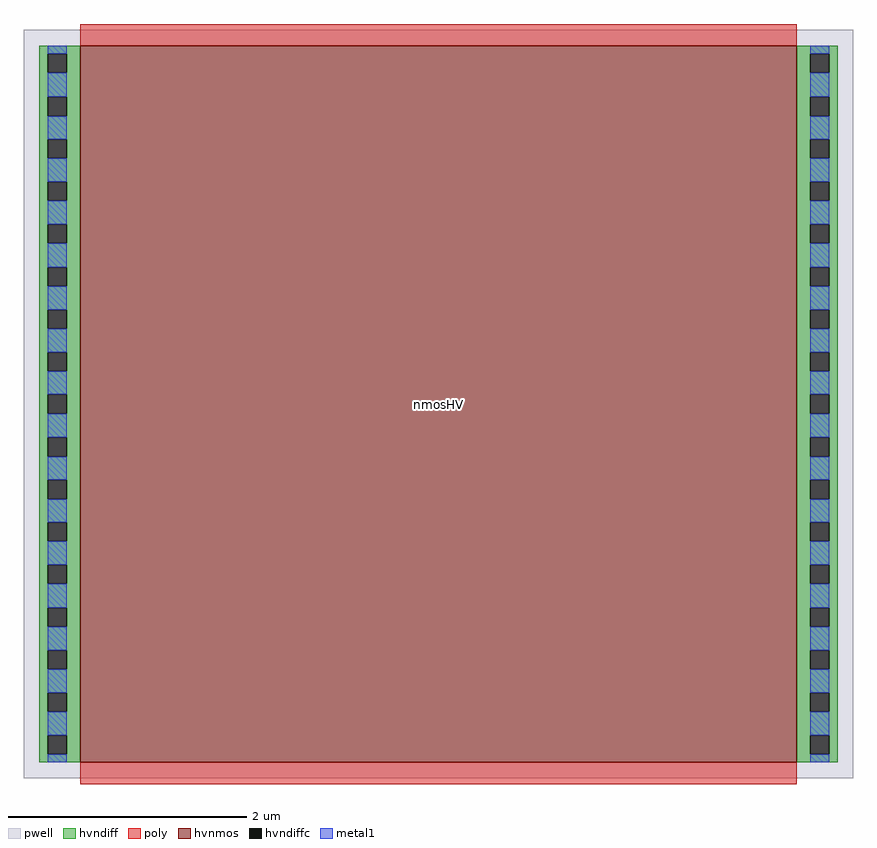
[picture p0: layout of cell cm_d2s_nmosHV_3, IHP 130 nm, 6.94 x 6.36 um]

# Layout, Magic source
magic
tech ihp-sg13cmos5l
magscale 1 2
<< pwell >>
rect -26 -26 1362 1226
<< hvnmos >>
rect 68 0 1268 1200
<< hvndiff >>
rect 0 1186 68 1200
rect 0 1154 14 1186
rect 46 1154 68 1186
rect 0 1114 68 1154
rect 0 1082 14 1114
rect 46 1082 68 1114
rect 0 1043 68 1082
rect 0 1011 14 1043
rect 46 1011 68 1043
rect 0 972 68 1011
rect 0 940 14 972
rect 46 940 68 972
rect 0 901 68 940
rect 0 869 14 901
rect 46 869 68 901
rect 0 829 68 869
rect 0 797 14 829
rect 46 797 68 829
rect 0 758 68 797
rect 0 726 14 758
rect 46 726 68 758
rect 0 687 68 726
rect 0 655 14 687
rect 46 655 68 687
rect 0 616 68 655
rect 0 584 14 616
rect 46 584 68 616
rect 0 544 68 584
rect 0 512 14 544
rect 46 512 68 544
rect 0 473 68 512
rect 0 441 14 473
rect 46 441 68 473
rect 0 402 68 441
rect 0 370 14 402
rect 46 370 68 402
rect 0 331 68 370
rect 0 299 14 331
rect 46 299 68 331
rect 0 259 68 299
rect 0 227 14 259
rect 46 227 68 259
rect 0 188 68 227
rect 0 156 14 188
rect 46 156 68 188
rect 0 117 68 156
rect 0 85 14 117
rect 46 85 68 117
rect 0 46 68 85
rect 0 14 14 46
rect 46 14 68 46
rect 0 0 68 14
rect 1268 1186 1336 1200
rect 1268 1154 1290 1186
rect 1322 1154 1336 1186
rect 1268 1114 1336 1154
rect 1268 1082 1290 1114
rect 1322 1082 1336 1114
rect 1268 1043 1336 1082
rect 1268 1011 1290 1043
rect 1322 1011 1336 1043
rect 1268 972 1336 1011
rect 1268 940 1290 972
rect 1322 940 1336 972
rect 1268 901 1336 940
rect 1268 869 1290 901
rect 1322 869 1336 901
rect 1268 829 1336 869
rect 1268 797 1290 829
rect 1322 797 1336 829
rect 1268 758 1336 797
rect 1268 726 1290 758
rect 1322 726 1336 758
rect 1268 687 1336 726
rect 1268 655 1290 687
rect 1322 655 1336 687
rect 1268 616 1336 655
rect 1268 584 1290 616
rect 1322 584 1336 616
rect 1268 544 1336 584
rect 1268 512 1290 544
rect 1322 512 1336 544
rect 1268 473 1336 512
rect 1268 441 1290 473
rect 1322 441 1336 473
rect 1268 402 1336 441
rect 1268 370 1290 402
rect 1322 370 1336 402
rect 1268 331 1336 370
rect 1268 299 1290 331
rect 1322 299 1336 331
rect 1268 259 1336 299
rect 1268 227 1290 259
rect 1322 227 1336 259
rect 1268 188 1336 227
rect 1268 156 1290 188
rect 1322 156 1336 188
rect 1268 117 1336 156
rect 1268 85 1290 117
rect 1322 85 1336 117
rect 1268 46 1336 85
rect 1268 14 1290 46
rect 1322 14 1336 46
rect 1268 0 1336 14
<< hvndiffc >>
rect 14 1154 46 1186
rect 14 1082 46 1114
rect 14 1011 46 1043
rect 14 940 46 972
rect 14 869 46 901
rect 14 797 46 829
rect 14 726 46 758
rect 14 655 46 687
rect 14 584 46 616
rect 14 512 46 544
rect 14 441 46 473
rect 14 370 46 402
rect 14 299 46 331
rect 14 227 46 259
rect 14 156 46 188
rect 14 85 46 117
rect 14 14 46 46
rect 1290 1154 1322 1186
rect 1290 1082 1322 1114
rect 1290 1011 1322 1043
rect 1290 940 1322 972
rect 1290 869 1322 901
rect 1290 797 1322 829
rect 1290 726 1322 758
rect 1290 655 1322 687
rect 1290 584 1322 616
rect 1290 512 1322 544
rect 1290 441 1322 473
rect 1290 370 1322 402
rect 1290 299 1322 331
rect 1290 227 1322 259
rect 1290 156 1322 188
rect 1290 85 1322 117
rect 1290 14 1322 46
<< poly >>
rect 68 1200 1268 1236
rect 68 -36 1268 0
<< metal1 >>
rect 14 1186 46 1200
rect 14 1114 46 1154
rect 14 1043 46 1082
rect 14 972 46 1011
rect 14 901 46 940
rect 14 829 46 869
rect 14 758 46 797
rect 14 687 46 726
rect 14 616 46 655
rect 14 544 46 584
rect 14 473 46 512
rect 14 402 46 441
rect 14 331 46 370
rect 14 259 46 299
rect 14 188 46 227
rect 14 117 46 156
rect 14 46 46 85
rect 14 0 46 14
rect 1290 1186 1322 1200
rect 1290 1114 1322 1154
rect 1290 1043 1322 1082
rect 1290 972 1322 1011
rect 1290 901 1322 940
rect 1290 829 1322 869
rect 1290 758 1322 797
rect 1290 687 1322 726
rect 1290 616 1322 655
rect 1290 544 1322 584
rect 1290 473 1322 512
rect 1290 402 1322 441
rect 1290 331 1322 370
rect 1290 259 1322 299
rect 1290 188 1322 227
rect 1290 117 1322 156
rect 1290 46 1322 85
rect 1290 0 1322 14
<< labels >>
flabel comment s 668 600 668 600 0 FreeSans 200 90 0 0 nmosHV
<< properties >>
string GDS_END 50214
string GDS_FILE custom_io/gds/sg13cmos5l_IOPadDiff2Single.uniq.gds
string GDS_START 47186
<< end >>
